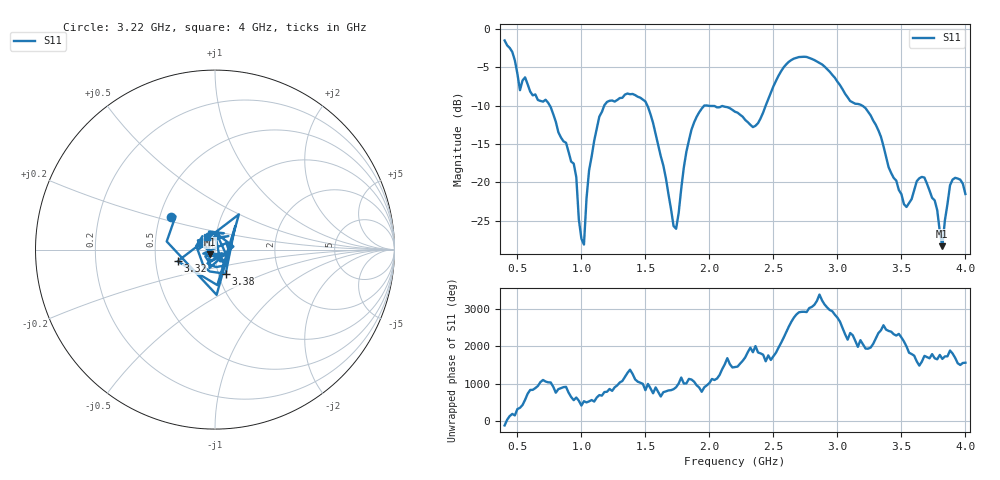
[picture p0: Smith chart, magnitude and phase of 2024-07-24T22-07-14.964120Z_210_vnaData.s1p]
!Created with skrf (http://scikit-rf.org).
# Hz S RI R 50.0
!freq ReS11 ImS11
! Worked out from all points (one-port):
!   181 points, 400 MHz to 4 GHz, reference 50 ohm
!   lowest |S11| = -28.3 dB at 3.82 GHz (marker M1), VSWR 1.08, Z = 47.3 - j2.56 ohm
!   |S11| at or under -10 dB: 1.515 GHz to 1.959 GHz (443.9 MHz wide, 25.6 % of centre); 1.987 GHz to 2.44 GHz (452.8 MHz wide, 20.5 % of centre); 3.193 GHz to end of sweep (the widest 3 of 4)
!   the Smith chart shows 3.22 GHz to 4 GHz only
!   S11 on the Smith chart (normalised r, x): 3.22 GHz: 0.57, +0.23; 3.32 GHz: 0.65, -0.09; 3.38 GHz: 1.08, -0.30; 4 GHz: 0.90, +0.13
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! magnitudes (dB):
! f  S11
! 400 MHz  -1.5
! 520 MHz  -8.0
! 740 MHz  -9.6
! 860 MHz  -14.7
! 940 MHz  -17.6
! 980 MHz  -24.9
! 1.02 GHz  -28.1
! 1.06 GHz  -18.5
! 1.14 GHz  -11.4
! 1.3 GHz  -9.0
! 1.5 GHz  -9.5
! 1.72 GHz  -25.7
! 1.76 GHz  -24.0
! 1.82 GHz  -16.0
! 1.9 GHz  -11.5
! 2.2 GHz  -10.8
! 2.36 GHz  -12.6
! 2.66 GHz  -3.9
! 3.1 GHz  -9.4
! 3.22 GHz  -10.3
! 3.32 GHz  -13.2
! 3.38 GHz  -16.6
! 3.56 GHz  -22.7
! 3.68 GHz  -19.4
! 3.76 GHz  -22.4
! 3.82 GHz  -28.3
! 3.88 GHz  -20.4
! 4 GHz  -21.5
